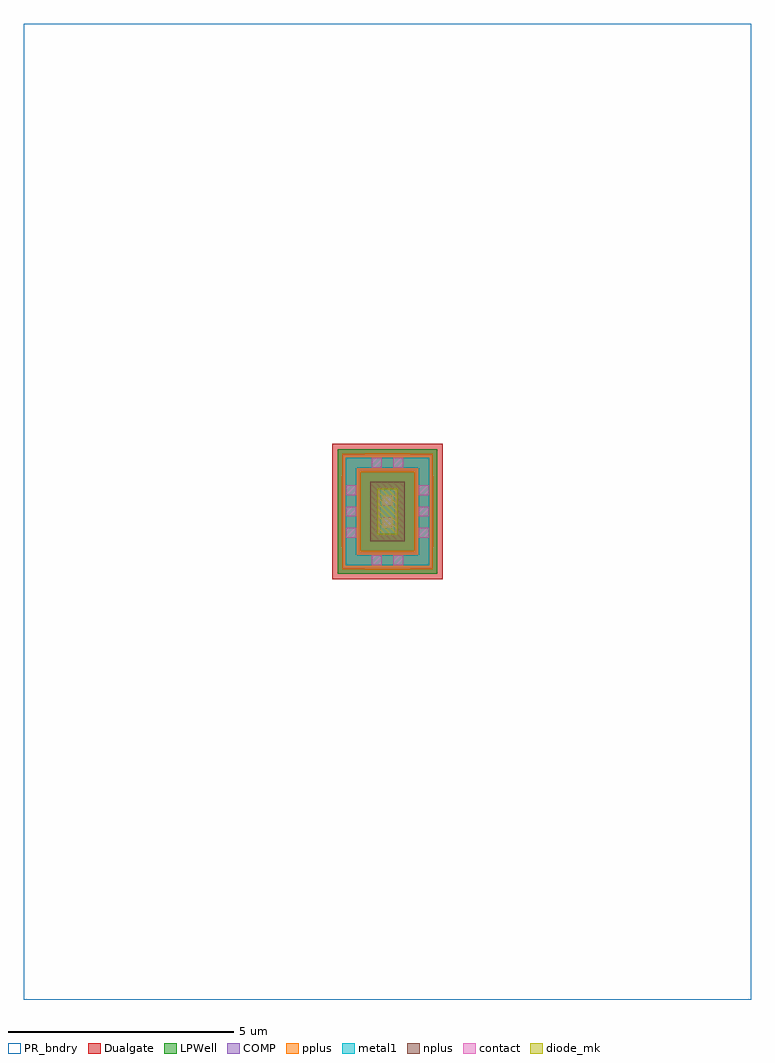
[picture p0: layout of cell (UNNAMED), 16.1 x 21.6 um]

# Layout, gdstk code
import gdstk
lib = gdstk.Library(unit=1e-6, precision=1e-09)
def R(c, l, rs):  # rectangles x0, y0, x1, y1
    for r in rs: c.add(gdstk.rectangle(r[:2], r[2:], *l))
def A(c, l, x, y, w, h, nx, ny, dx, dy):  # array of equal rectangles
    R(c, l, [(x+i*dx, y+j*dy, x+i*dx+w, y+j*dy+h) for i in range(nx) for j in range(ny)])
PR_bndry = (0, 0)
COMP = (22, 0)
pplus = (31, 0)
nplus = (32, 0)
contact = (33, 0)
metal1 = (34, 0)
Dualgate = (55, 0)
diode_mk = (115, 5)
LPWell = (204, 0)

c__unnamed_ = lib.new_cell('(UNNAMED)')
R(c__unnamed_, PR_bndry, [(-8.05,-10.8,8.05,10.8)])
R(c__unnamed_, COMP, [(-0.985,-1.26,0.985,-0.9), (-0.985,-0.9,-0.625,0.9), (0.625,-0.9,0.985,0.9), (-0.225,-0.5,0.225,0.5), (-0.985,0.9,0.985,1.26)])
R(c__unnamed_, pplus, [(-0.5,-1.29,0.5,-1.28), (-1.005,-1.28,1.005,-0.87), (-1.005,-0.87,-0.595,-0.775), (0.595,-0.87,1.005,-0.775), (-1.015,-0.775,-0.595,0.775), (0.595,-0.775,1.015,0.775), (-1.005,0.775,-0.595,0.87), (0.595,0.775,1.005,0.87), (-1.005,0.87,1.005,1.28), (-0.5,1.28,0.5,1.29)])
R(c__unnamed_, nplus, [(-0.385,-0.66,0.385,0.66)])
A(c__unnamed_, contact, -0.915, -0.58, 0.22, 0.22, 1, 3, 0, 0.47)
A(c__unnamed_, contact, 0.695, -0.58, 0.22, 0.22, 1, 3, 0, 0.47)
R(c__unnamed_, contact, [(-0.345,-1.19,-0.125,-0.97), (0.125,-1.19,0.345,-0.97), (-0.11,-0.345,0.11,-0.125), (-0.11,0.125,0.11,0.345), (-0.345,0.97,-0.125,1.19), (0.125,0.97,0.345,1.19)])
R(c__unnamed_, metal1, [(-0.92,-1.195,0.92,-0.965), (-0.92,-0.965,-0.69,0.965), (0.69,-0.965,0.92,0.965), (-0.16,-0.49,0.16,0.49), (-0.92,0.965,0.92,1.195)])
R(c__unnamed_, Dualgate, [(-1.225,-1.5,1.225,1.5)])
R(c__unnamed_, diode_mk, [(-0.225,-0.5,0.225,0.5)])
R(c__unnamed_, LPWell, [(-1.105,-1.38,1.105,1.38)])

lib.write_gds('_UNNAMED_.gds')
